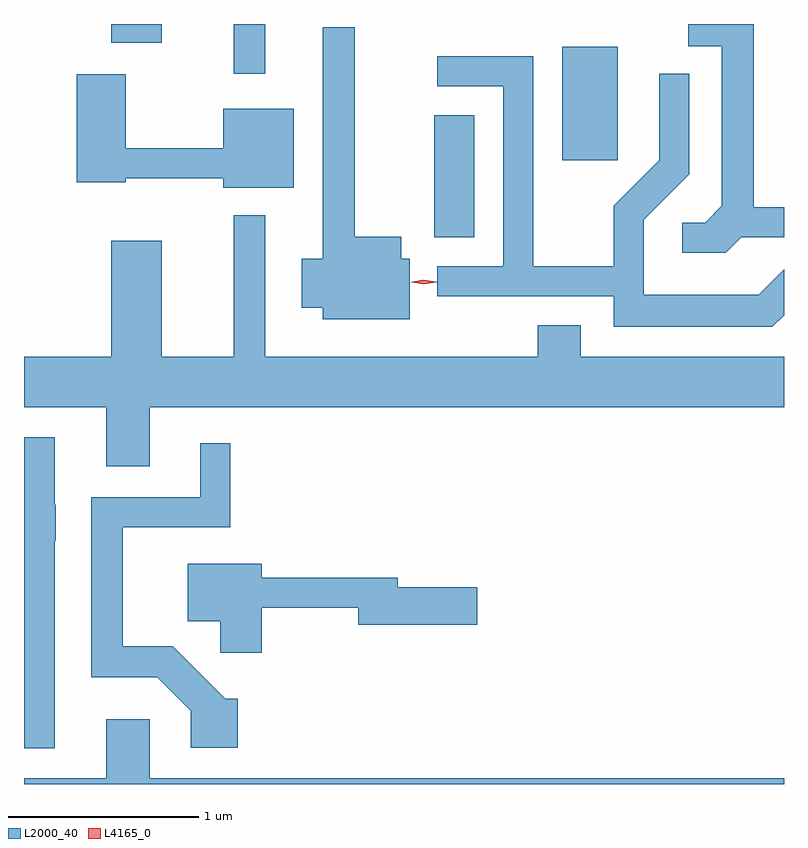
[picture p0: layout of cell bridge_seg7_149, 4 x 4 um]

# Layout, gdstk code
import gdstk
lib = gdstk.Library(unit=1e-6, precision=1e-09)
def R(c, l, rs):  # rectangles x0, y0, x1, y1
    for r in rs: c.add(gdstk.rectangle(r[:2], r[2:], *l))
def P(c, l, *ps):  # polygons
    for p in ps: c.add(gdstk.Polygon(p, *l))
L2000_40 = (2000, 40)
L4165_0 = (4165, 0)

bridge_seg7_149 = lib.new_cell('bridge_seg7_149')
R(bridge_seg7_149, L2000_40, [(1635.356,1719.651,1635.569,1720.294), (1636.031,1720.056,1636.324,1720.654), (1634.301,1720.513,1634.469,1720.774), (1633.656,1720.676,1633.924,1720.774)])
P(bridge_seg7_149, L2000_40, [(1636.972,1719.651),(1637.198,1719.651),(1637.198,1719.809),(1637.039,1719.809),(1637.039,1720.774),(1636.693,1720.774),(1636.693,1720.656),(1636.871,1720.656),(1636.871,1719.817),(1636.784,1719.729),(1636.663,1719.729),(1636.663,1719.571),(1636.892,1719.571)],
  [(1635.229,1719.539),(1635.184,1719.539),(1635.184,1719.654),(1634.939,1719.654),(1634.939,1720.758),(1634.771,1720.758),(1634.771,1719.539),(1634.661,1719.539),(1634.661,1719.281),(1634.771,1719.281),(1634.771,1719.221),(1635.229,1719.221)],
  [(1637.198,1719.242),(1637.198,1719.483),(1637.064,1719.349),(1636.459,1719.349),(1636.459,1719.744),(1636.699,1719.984),(1636.699,1720.513),(1636.541,1720.513),(1636.541,1720.057),(1636.301,1719.817),(1636.301,1719.499),(1635.879,1719.499),(1635.879,1720.604),(1635.373,1720.604),(1635.373,1720.446),(1635.721,1720.446),(1635.721,1719.499),(1635.373,1719.499),(1635.373,1719.341),(1636.301,1719.341),(1636.301,1719.181),(1637.137,1719.181)],
  [(1634.619,1720.329),(1634.246,1720.329),(1634.246,1720.119),(1633.734,1720.119),(1633.734,1720.509),(1633.476,1720.509),(1633.476,1719.941),(1633.734,1719.941),(1633.734,1719.961),(1634.246,1719.961),(1634.246,1719.911),(1634.619,1719.911)],
  [(1633.859,1718.756),(1637.198,1718.756),(1637.198,1719.024),(1636.129,1719.024),(1636.129,1719.189),(1635.901,1719.189),(1635.901,1719.024),(1634.469,1719.024),(1634.469,1719.768),(1634.301,1719.768),(1634.301,1719.024),(1633.924,1719.024),(1633.924,1719.634),(1633.656,1719.634),(1633.656,1719.024),(1633.198,1719.024),(1633.198,1718.756),(1633.631,1718.756),(1633.631,1718.446),(1633.859,1718.446)],
  [(1633.359,1718.055),(1633.364,1718.055),(1633.364,1718.245),(1633.359,1718.245),(1633.359,1718.599),(1633.198,1718.599),(1633.198,1716.961),(1633.359,1716.961)],
  [(1634.324,1717.224),(1634.257,1717.224),(1633.982,1717.499),(1633.719,1717.499),(1633.719,1718.126),(1634.284,1718.126),(1634.284,1718.568),(1634.126,1718.568),(1634.126,1718.284),(1633.551,1718.284),(1633.551,1717.336),(1633.899,1717.336),(1634.076,1717.159),(1634.076,1716.966),(1634.324,1716.966)],
  [(1634.449,1717.701),(1634.956,1717.701),(1634.956,1717.611),(1635.584,1717.611),(1635.584,1717.809),(1635.164,1717.809),(1635.164,1717.859),(1634.449,1717.859),(1634.449,1717.934),(1634.061,1717.934),(1634.061,1717.631),(1634.231,1717.631),(1634.231,1717.466),(1634.449,1717.466)],
  [(1637.198,1716.804),(1633.859,1716.804),(1633.859,1717.114),(1633.631,1717.114),(1633.631,1716.804),(1633.198,1716.804),(1633.198,1716.774),(1637.198,1716.774)])
P(bridge_seg7_149, L4165_0, [(1635.302,1719.405),(1635.235,1719.414),(1635.234,1719.414),(1635.235,1719.415),(1635.302,1719.425),(1635.37,1719.416),(1635.37,1719.415),(1635.37,1719.415)],
  [(1635.303,1719.407),(1635.241,1719.416),(1635.24,1719.416),(1635.241,1719.417),(1635.303,1719.427),(1635.366,1719.418),(1635.367,1719.418),(1635.366,1719.417)])

lib.write_gds('bridge_seg7_149.gds')
